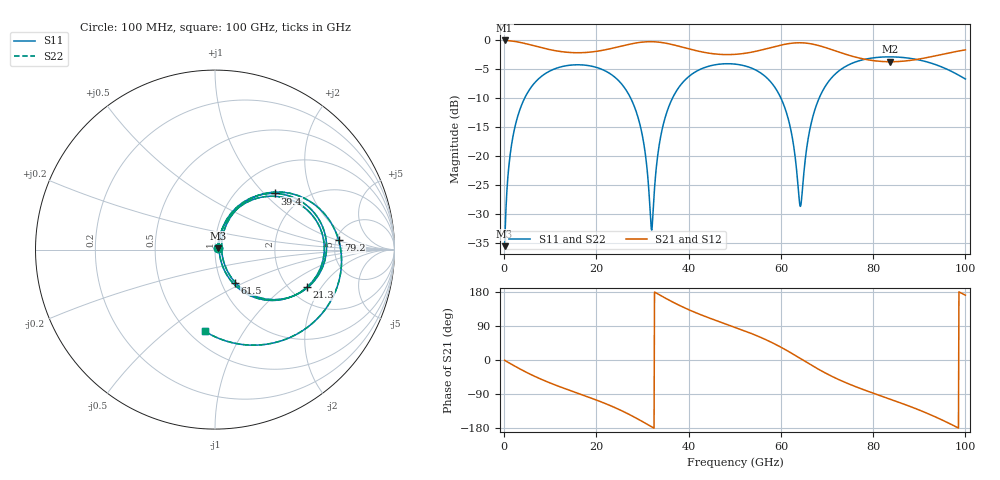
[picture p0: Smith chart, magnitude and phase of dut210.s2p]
! Touchstone file exported from HFSS 2026.1.0
!  File:  C:/ffzhzh/LocalFiles/Ansys_Project_Files/temp_train_TSV_RDL_210_1783660641_26216.aedt
!  Generated:  01:24:06 PM Jul 10, 2026
!  Design:  TSV_RDL
!  Project:  temp_train_TSV_RDL_210_1783660641_26216
! Variables:
!  h_bsmrdl = 3.36um
!  h_ox = 20um
!  h_rdl = 5um
!  h_sub = 60.33um
!  h_tmrdl = 2.44um
!  h_tsv = 60.33um
!  h_via = 3um
!  l_bsmrdl = 282.6um
!  l_sub = 1837.83um
!  l_tmrdl = 127.85um
!  m_sub = 200um
!  pitch = 51.07um
!  r_tsv = 10.23um
!  s_tmrdl = 10um
!  w_bsmrdl = 10.44um
!  w_sub = 500um
!  w_tmrdl = 15.77um
!  x_tsv_center1 = 135.735um
!  x_tsv_center2 = 428.775um
!  x_tsv_center3 = 572.395um
!  x_tsv_center4 = 865.435um
!  x_tsv_center5 = 1009.055um
!  x_tsv_center6 = 1302.095um
# GHz S MA R 50.000000
! Terminal data exported
! Port[1] = TM_RDL1_1_T1
! Port[2] = TM_RDL5_1_T1
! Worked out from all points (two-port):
!   1000 points, 100 MHz to 100 GHz, reference 50 ohm
!   highest |S21| = -0.13 dB at 100 MHz (marker M1); lowest = -3.8 dB at 83.7 GHz (marker M2)
!   |S21| within 3 dB of the highest: start of sweep to 76.87 GHz; 91.3 GHz to end of sweep
!   lowest |S11| = -35.5 dB at 100 MHz (marker M3), VSWR 1.03, Z = 51.5 + j0.824 ohm
!   |S11| at or under -10 dB: start of sweep to 4.47 GHz; 27.41 GHz to 36.52 GHz (9.115 GHz wide, 28.5 % of centre); 59.98 GHz to 68.32 GHz (8.332 GHz wide, 13 % of centre)
!   |S22| runs from -35.5 to -2.9 dB; largest |S21 - S12| = 1.1e-13
!   S11 on the Smith chart (normalised r, x): 100 MHz: 1.03, +0.02; 21.3 GHz: 2.47, -1.49; 39.4 GHz: 1.46, +1.16; 61.5 GHz: 1.16, -0.45; 79.2 GHz: 5.23, +1.08; 100 GHz: 0.60, -0.69
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0.1  0.01684 28.4  0.9853 -0.7  0.9853 -0.7  0.01684 28.4
! Gamma 0 0 0 0
! Port Impedance 50 0 50 0
1.6  0.1249 70.6  0.9748 -11.3  0.9748 -11.3  0.1249 70.6
4.3  0.3063 57.1  0.9325 -29.2  0.9325 -29.2  0.3063 57.1
16.8  0.6078 -2.5  0.7735 -91.3  0.7735 -91.3  0.6078 -2.5
21.3  0.5539 -22.1  0.8102 -111.8  0.8102 -111.8  0.5539 -22.1
28.6  0.243 -59.5  0.9375 -153.2  0.9375 -153.2  0.243 -59.5
30.4  0.1194 -65.7  0.9571 -165.3  0.9571 -165.3  0.1194 -65.8
31.9  0.02367 -10.4  0.9616 -175.7  0.9616 -175.7  0.02348 -10.6
33.4  0.1091 70.6  0.9541 173.8  0.9541 173.8  0.109 70.7
35.7  0.2662 62.7  0.9224 158.4  0.9224 158.4  0.2662 62.7
39.4  0.4583 43.0  0.8473 136.1  0.8473 136.1  0.4582 43.1
50.1  0.6169 -4.4  0.7485 86.0  0.7485 86.0  0.6168 -4.3
57.3  0.4558 -37.5  0.845 50.4  0.845 50.4  0.4557 -37.4
61.5  0.2155 -58.3  0.9232 23.6  0.9232 23.6  0.2154 -58.2
64.2  0.037 -0.3  0.9414 4.1  0.9414 4.1  0.03707 -0.1
66.7  0.2014 64.4  0.9192 -14.2  0.9192 -14.2  0.2014 64.5
71.9  0.512 38.1  0.7995 -48.0  0.7995 -48.0  0.5121 38.2
79.2  0.6906 4.5  0.6684 -84.0  0.6684 -84.0  0.6906 4.6
83.4  0.7124 -12.8  0.6468 -102.1  0.6468 -102.1  0.7124 -12.7
83.7  0.7124 -14.1  0.6467 -103.4  0.6467 -103.4  0.7124 -14.0
92.4  0.6322 -52.9  0.7118 -144.3  0.7118 -144.3  0.6321 -52.8
100  0.4593 -96.9  0.8178 171.0  0.8178 171.0  0.4592 -96.9
